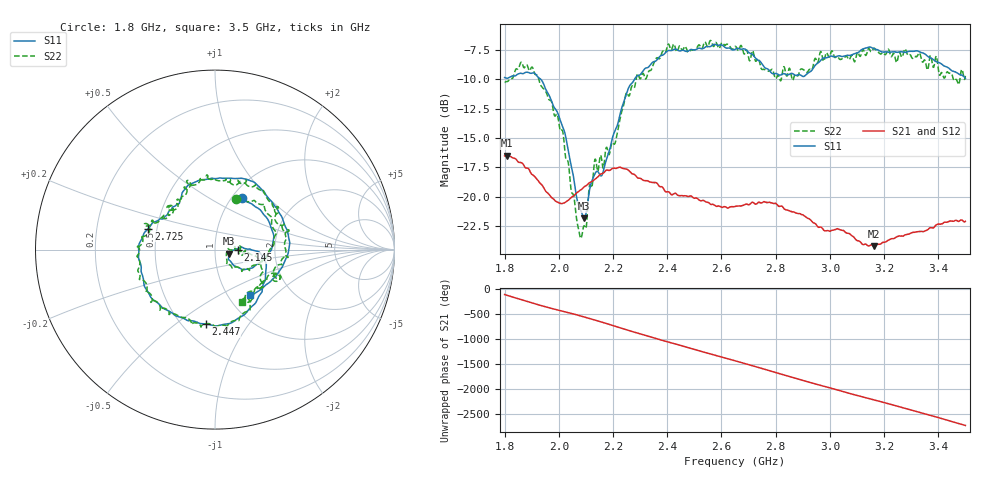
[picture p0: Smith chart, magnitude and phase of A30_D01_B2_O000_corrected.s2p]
! Created with skrf 1.9.0 (http://scikit-rf.org).
# Hz S RI R 50.0
!freq ReS11 ImS11 ReS21 ImS21 ReS12 ImS12 ReS22 ImS22
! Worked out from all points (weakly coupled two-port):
!   1601 points, 1.8 GHz to 3.5 GHz, reference 50 ohm
!   highest |S21| = -16.50 dB at 1.81 GHz (marker M1); lowest = -24.2 dB at 3.163 GHz (marker M2)
!   lowest |S11| = -21.8 dB at 2.093 GHz (marker M3), VSWR 1.18, Z = 58.4 - j2.58 ohm
!   |S11| at or under -10 dB: 1.933 GHz to 2.279 GHz (345.9 MHz wide, 16.4 % of centre)
!   |S22| runs from -23.5 to -6.7 dB; largest |S21 - S12| = 0.0029
!   S11 on the Smith chart (normalised r, x): 1.8 GHz: 1.11, +0.71; 2.145 GHz: 1.29, -0.00; 2.447 GHz: 0.65, -0.65; 2.725 GHz: 0.45, +0.12; 3.5 GHz: 1.26, -0.71
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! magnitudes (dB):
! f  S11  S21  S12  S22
! 1.8 GHz  -9.9  -16.5  -16.5  -10.3
! 1.81 GHz  -9.9  -16.5  -16.5  -10.2
! 1.881 GHz  -9.4  -17.6  -17.6  -8.8
! 1.969 GHz  -11.6  -19.9  -20.0  -11.8
! 2.013 GHz  -13.9  -20.6  -20.6  -14.3
! 2.072 GHz  -20.6  -19.6  -19.6  -22.7
! 2.084 GHz  -21.3  -19.4  -19.3  -23.4
! 2.093 GHz  -21.8  -19.2  -19.2  -22.5
! 2.13 GHz  -18.2  -18.5  -18.6  -17.2
! 2.145 GHz  -17.9  -18.3  -18.3  -17.8
! 2.208 GHz  -14.3  -17.6  -17.6  -15.4
! 2.26 GHz  -10.6  -17.8  -17.8  -11.4
! 2.367 GHz  -8.2  -19.0  -19.0  -8.2
! 2.447 GHz  -7.6  -19.9  -19.9  -7.2
! 2.65 GHz  -7.5  -20.8  -20.8  -7.2
! 2.725 GHz  -8.2  -20.6  -20.6  -8.4
! 2.813 GHz  -9.6  -20.8  -20.7  -9.8
! 2.934 GHz  -9.2  -22.1  -22.1  -9.2
! 3.163 GHz  -7.4  -24.2  -24.2  -7.3
! 3.217 GHz  -7.7  -23.7  -23.7  -7.5
! 3.327 GHz  -7.6  -23.0  -22.9  -7.8
! 3.5 GHz  -9.9  -22.1  -22.1  -9.7
